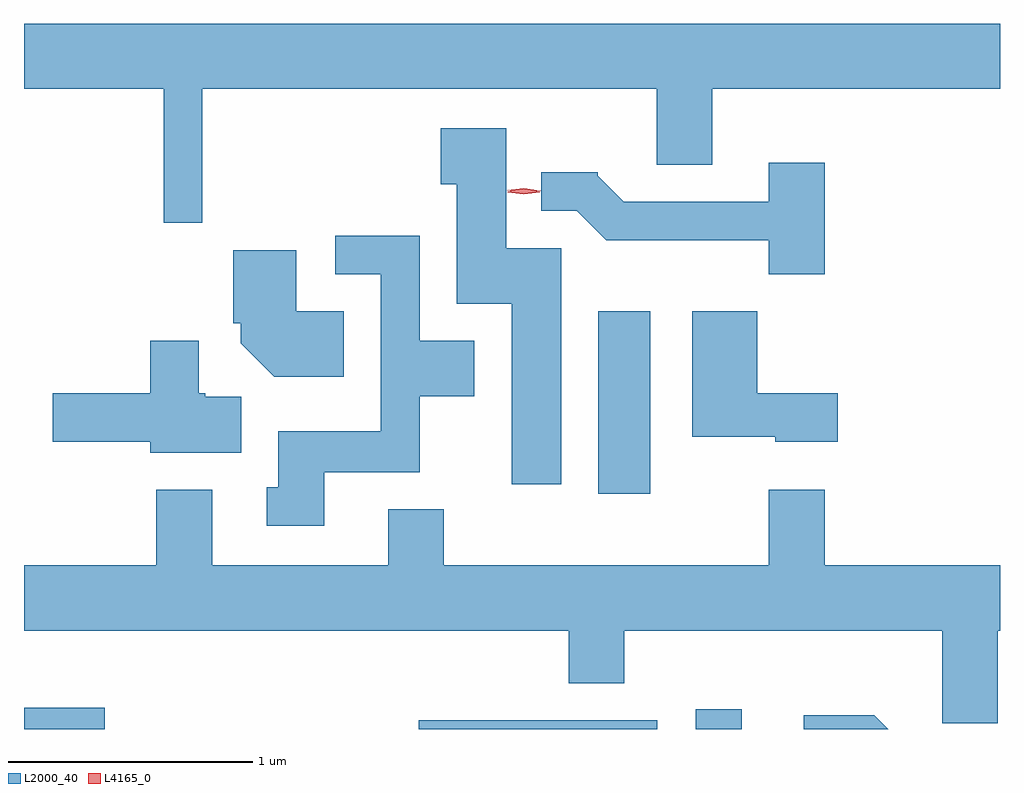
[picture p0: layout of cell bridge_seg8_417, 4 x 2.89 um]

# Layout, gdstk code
import gdstk
lib = gdstk.Library(unit=1e-6, precision=1e-09)
def R(c, l, rs):  # rectangles x0, y0, x1, y1
    for r in rs: c.add(gdstk.rectangle(r[:2], r[2:], *l))
def P(c, l, *ps):  # polygons
    for p in ps: c.add(gdstk.Polygon(p, *l))
L2000_40 = (2000, 40)
L4165_0 = (4165, 0)

bridge_seg8_417 = lib.new_cell('bridge_seg8_417')
R(bridge_seg8_417, L2000_40, [(1002.508,1867.091,1002.838,1867.179), (1004.126,1867.091,1005.104,1867.129), (1005.261,1867.091,1005.449,1867.174), (1004.861,1868.056,1005.074,1868.804)])
P(bridge_seg8_417, L2000_40, [(1003.239,1869.716),(1005.101,1869.716),(1005.101,1869.406),(1005.329,1869.406),(1005.329,1869.716),(1006.508,1869.716),(1006.508,1869.984),(1002.508,1869.984),(1002.508,1869.716),(1003.081,1869.716),(1003.081,1869.168),(1003.239,1869.168)],
  [(1004.709,1869.064),(1004.484,1869.064),(1004.484,1869.554),(1004.216,1869.554),(1004.216,1869.326),(1004.281,1869.326),(1004.281,1868.836),(1004.506,1868.836),(1004.506,1868.096),(1004.709,1868.096)],
  [(1005.789,1869.414),(1005.561,1869.414),(1005.561,1869.254),(1004.967,1869.254),(1004.86,1869.361),(1004.86,1869.374),(1004.628,1869.374),(1004.628,1869.216),(1004.774,1869.216),(1004.894,1869.096),(1005.561,1869.096),(1005.561,1868.956),(1005.789,1868.956)],
  [(1003.739,1868.146),(1004.129,1868.146),(1004.129,1868.456),(1004.354,1868.456),(1004.354,1868.684),(1004.129,1868.684),(1004.129,1869.114),(1003.783,1869.114),(1003.783,1868.956),(1003.971,1868.956),(1003.971,1868.314),(1003.551,1868.314),(1003.551,1868.084),(1003.503,1868.084),(1003.503,1867.926),(1003.739,1867.926)],
  [(1003.819,1868.804),(1003.624,1868.804),(1003.624,1869.054),(1003.366,1869.054),(1003.366,1868.756),(1003.396,1868.756),(1003.396,1868.674),(1003.534,1868.536),(1003.819,1868.536)],
  [(1005.844,1868.469),(1005.514,1868.469),(1005.514,1868.804),(1005.246,1868.804),(1005.246,1868.291),(1005.586,1868.291),(1005.586,1868.271),(1005.844,1868.271)],
  [(1003.399,1868.454),(1003.25,1868.454),(1003.25,1868.469),(1003.224,1868.469),(1003.224,1868.684),(1003.026,1868.684),(1003.026,1868.469),(1002.626,1868.469),(1002.626,1868.271),(1003.026,1868.271),(1003.026,1868.226),(1003.399,1868.226)],
  [(1005.561,1868.074),(1005.561,1867.764),(1004.229,1867.764),(1004.229,1867.994),(1004.001,1867.994),(1004.001,1867.764),(1003.279,1867.764),(1003.279,1868.074),(1003.051,1868.074),(1003.051,1867.764),(1002.508,1867.764),(1002.508,1867.496),(1004.741,1867.496),(1004.741,1867.281),(1004.969,1867.281),(1004.969,1867.496),(1006.271,1867.496),(1006.271,1867.116),(1006.499,1867.116),(1006.499,1867.496),(1006.508,1867.496),(1006.508,1867.764),(1005.789,1867.764),(1005.789,1868.074)],
  [(1005.992,1867.149),(1005.703,1867.149),(1005.703,1867.091),(1006.05,1867.091)])
P(bridge_seg8_417, L4165_0, [(1004.556,1869.284),(1004.49,1869.293),(1004.49,1869.294),(1004.49,1869.294),(1004.556,1869.304),(1004.621,1869.294),(1004.622,1869.294),(1004.621,1869.293)],
  [(1004.556,1869.289),(1004.488,1869.3),(1004.488,1869.301),(1004.488,1869.301),(1004.556,1869.309),(1004.624,1869.298),(1004.625,1869.298),(1004.624,1869.298)])

lib.write_gds('bridge_seg8_417.gds')
